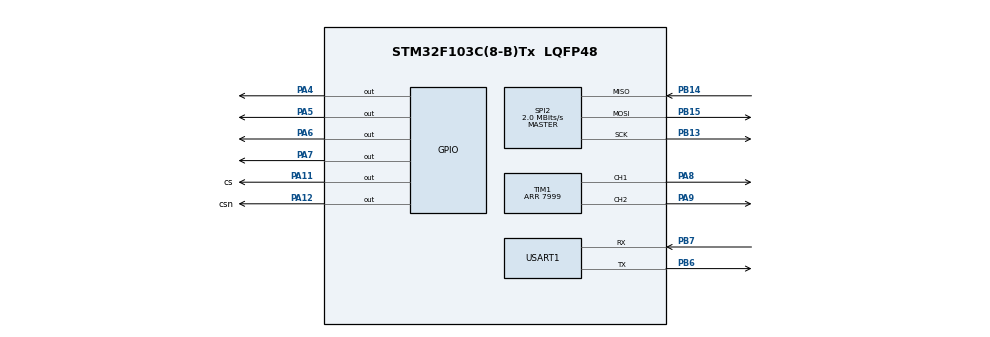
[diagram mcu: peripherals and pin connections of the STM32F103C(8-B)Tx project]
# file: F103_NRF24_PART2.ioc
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Mcu.Family=STM32F1
Mcu.Name=STM32F103C(8-B)Tx
Mcu.Package=LQFP48
NVIC.PriorityGroup=NVIC_PRIORITYGROUP_4
PA11.GPIO_Label=cs
PA11.Signal=GPIO_Output
PA12.GPIO_Label=csn
PA12.Signal=GPIO_Output
PA13.Mode=Serial_Wire
PA13.Signal=SYS_JTMS-SWDIO
PA14.Mode=Serial_Wire
PA14.Signal=SYS_JTCK-SWCLK
PA4.Signal=GPIO_Output
PA5.Signal=GPIO_Output
PA6.Signal=GPIO_Output
PA7.Signal=GPIO_Output
PA8.Signal=S_TIM1_CH1
PA9.Signal=S_TIM1_CH2
PB13.Mode=Full_Duplex_Master
PB13.Signal=SPI2_SCK
PB14.Mode=Full_Duplex_Master
PB14.Signal=SPI2_MISO
PB15.Mode=Full_Duplex_Master
PB15.Signal=SPI2_MOSI
PB6.Mode=Asynchronous
PB6.Signal=USART1_TX
PB7.Mode=Asynchronous
PB7.Signal=USART1_RX
PD0-OSC_IN.Mode=HSE-External-Oscillator
PD0-OSC_IN.Signal=RCC_OSC_IN
PD1-OSC_OUT.Mode=HSE-External-Oscillator
PD1-OSC_OUT.Signal=RCC_OSC_OUT
ProjectManager.HeapSize=0x200
ProjectManager.StackSize=0x400
ProjectManager.TargetToolchain=STM32CubeIDE
RCC.APB1Freq_Value=8000000
RCC.APB2Freq_Value=8000000
RCC.SYSCLKSource=RCC_SYSCLKSOURCE_HSE
SH.S_TIM1_CH1.0=TIM1_CH1,PWM Generation1 CH1
SH.S_TIM1_CH2.0=TIM1_CH2,PWM Generation2 CH2
SPI2.BaudRatePrescaler=SPI_BAUDRATEPRESCALER_4
SPI2.CalculateBaudRate=2.0 MBits/s
SPI2.Direction=SPI_DIRECTION_2LINES
SPI2.Mode=SPI_MODE_MASTER
SPI2.VirtualType=VM_MASTER
TIM1.AutoReloadPreload=TIM_AUTORELOAD_PRELOAD_ENABLE
TIM1.Channel-PWM\ Generation1\ CH1=TIM_CHANNEL_1
TIM1.Channel-PWM\ Generation2\ CH2=TIM_CHANNEL_2
TIM1.Period=7999
USART1.VirtualMode=VM_ASYNC
VP_TIM1_VS_ClockSourceINT.Mode=Internal
board=custom

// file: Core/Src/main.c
/* USER CODE BEGIN Header */
/**
  ******************************************************************************
  * @file           : main.c
  * @brief          : Main program body
  ******************************************************************************
  * @attention
  *
  * Copyright (c) 2022 STMicroelectronics.
  * All rights reserved.
  *
  * This software is licensed under terms that can be found in the LICENSE file
  * in the root directory of this software component.
  * If no LICENSE file comes with this software, it is provided AS-IS.
  *
  ******************************************************************************
  */
/* USER CODE END Header */
#include "main.h"

/* USER CODE BEGIN Includes */
#include "stdio.h"
#include "MY_NRF24.h"
/* USER CODE END Includes */

SPI_HandleTypeDef hspi2;

TIM_HandleTypeDef htim1;

UART_HandleTypeDef huart1;

/* USER CODE BEGIN PV */
uint64_t RxpipeAddrs = 0x11223344AA;
char myRxData[50];
uint16_t adc_value[2];
int32_t ccr_value;
/* USER CODE END PV */

void SystemClock_Config(void);
static void MX_GPIO_Init(void);
static void MX_SPI2_Init(void);
static void MX_USART1_UART_Init(void);
static void MX_TIM1_Init(void);

int main(void)
{

  /* MCU Configuration--------------------------------------------------------*/

  /* Reset of all peripherals, Initializes the Flash interface and the Systick. */
  HAL_Init();

  /* Configure the system clock */
  SystemClock_Config();

  /* Initialize all configured peripherals */
  MX_GPIO_Init();
  MX_SPI2_Init();
  MX_USART1_UART_Init();
  MX_TIM1_Init();
  /* USER CODE BEGIN 2 */
  HAL_TIM_PWM_Start(&htim1, TIM_CHANNEL_1);
  HAL_TIM_PWM_Start(&htim1, TIM_CHANNEL_2);
	NRF24_begin(GPIOA, nrf_CSN_PIN, nrf_CE_PIN, hspi2);
	nrf24_DebugUART_Init(huart1);

	printRadioSettings();

	NRF24_setAutoAck(true);
	NRF24_setChannel(52);
	NRF24_setPayloadSize(4);
	NRF24_openReadingPipe(1, RxpipeAddrs);
	//NRF24_enableDynamicPayloads();
	//NRF24_enableAckPayload();

	NRF24_startListening();
  /* USER CODE END 2 */

  /* Infinite loop */
  /* USER CODE BEGIN WHILE */
  while (1)
  {
	  if(NRF24_available())
	  {
		NRF24_read(adc_value, 4);
	  }
	  // xe dung
	  if(adc_value[0] > 490 && adc_value[0] < 510 && adc_value[1] > 488 && adc_value[1] < 506)
	  {
		  __HAL_TIM_SET_COMPARE(&htim1,TIM_CHANNEL_1, 0);
		  __HAL_TIM_SET_COMPARE(&htim1,TIM_CHANNEL_2, 0);
	  // xe chay thang
	  }else if(adc_value[0] > 510)
	  {
		  HAL_GPIO_WritePin(GPIOA, GPIO_PIN_4, 0);
		  HAL_GPIO_WritePin(GPIOA, GPIO_PIN_5, 1);
		  HAL_GPIO_WritePin(GPIOA, GPIO_PIN_6, 0);
		  HAL_GPIO_WritePin(GPIOA, GPIO_PIN_7, 1);
		  ccr_value = ((adc_value[0] - 510) * 7999) / 513;
		  __HAL_TIM_SET_COMPARE(&htim1,TIM_CHANNEL_1, ccr_value);
		  __HAL_TIM_SET_COMPARE(&htim1,TIM_CHANNEL_2, ccr_value);
	  // xe chay lui
	  }else if(adc_value[0] < 490)
	  {
		  HAL_GPIO_WritePin(GPIOA, GPIO_PIN_4, 1);
		  HAL_GPIO_WritePin(GPIOA, GPIO_PIN_5, 0);
		  HAL_GPIO_WritePin(GPIOA, GPIO_PIN_6, 1);
		  HAL_GPIO_WritePin(GPIOA, GPIO_PIN_7, 0);
		  ccr_value = ((adc_value[0] * (-1) + 502 ) * 7999) / 502;
		  __HAL_TIM_SET_COMPARE(&htim1,TIM_CHANNEL_1, ccr_value);
		  __HAL_TIM_SET_COMPARE(&htim1,TIM_CHANNEL_2, ccr_value);
	  // xe re phai
	  }else if(adc_value[1] > 506)
	  {
		  HAL_GPIO_WritePin(GPIOA, GPIO_PIN_4, 0);
		  HAL_GPIO_WritePin(GPIOA, GPIO_PIN_5, 1);
		  ccr_value = ((adc_value[1] - 506) * 7999) / 517;
		  __HAL_TIM_SET_COMPARE(&htim1,TIM_CHANNEL_1, ccr_value);
		  __HAL_TIM_SET_COMPARE(&htim1,TIM_CHANNEL_2, 0);
		  // xe re trai
	  }else if(adc_value[1] < 488)
	  {
		  HAL_GPIO_WritePin(GPIOA, GPIO_PIN_6, 0);
		  HAL_GPIO_WritePin(GPIOA, GPIO_PIN_7, 1);
		  ccr_value = ((adc_value[1] * (-1) + 495 ) * 7999) / 495;
		  __HAL_TIM_SET_COMPARE(&htim1,TIM_CHANNEL_1, 0);
		  __HAL_TIM_SET_COMPARE(&htim1,TIM_CHANNEL_2, ccr_value);
	  }
    /* USER CODE END WHILE */

  }
}

void SystemClock_Config(void)
{
  RCC_OscInitTypeDef RCC_OscInitStruct = {0};
  RCC_ClkInitTypeDef RCC_ClkInitStruct = {0};

  /** Initializes the RCC Oscillators according to the specified parameters
  * in the RCC_OscInitTypeDef structure.
  */
  RCC_OscInitStruct.OscillatorType = RCC_OSCILLATORTYPE_HSE;
  RCC_OscInitStruct.HSEState = RCC_HSE_ON;
  RCC_OscInitStruct.PLL.PLLState = RCC_PLL_NONE;
  if (HAL_RCC_OscConfig(&RCC_OscInitStruct) != HAL_OK)
  {
    Error_Handler();
  }
  /** Initializes the CPU, AHB and APB buses clocks
  */
  RCC_ClkInitStruct.ClockType = RCC_CLOCKTYPE_HCLK|RCC_CLOCKTYPE_SYSCLK
                              |RCC_CLOCKTYPE_PCLK1|RCC_CLOCKTYPE_PCLK2;
  RCC_ClkInitStruct.SYSCLKSource = RCC_SYSCLKSOURCE_HSE;
  RCC_ClkInitStruct.AHBCLKDivider = RCC_SYSCLK_DIV1;
  RCC_ClkInitStruct.APB1CLKDivider = RCC_HCLK_DIV1;
  RCC_ClkInitStruct.APB2CLKDivider = RCC_HCLK_DIV1;

  if (HAL_RCC_ClockConfig(&RCC_ClkInitStruct, FLASH_LATENCY_0) != HAL_OK)
  {
    Error_Handler();
  }
}

static void MX_SPI2_Init(void)
{

  /* SPI2 parameter configuration*/
  hspi2.Instance = SPI2;
  hspi2.Init.Mode = SPI_MODE_MASTER;
  hspi2.Init.Direction = SPI_DIRECTION_2LINES;
  hspi2.Init.DataSize = SPI_DATASIZE_8BIT;
  hspi2.Init.CLKPolarity = SPI_POLARITY_LOW;
  hspi2.Init.CLKPhase = SPI_PHASE_1EDGE;
  hspi2.Init.NSS = SPI_NSS_SOFT;
  hspi2.Init.BaudRatePrescaler = SPI_BAUDRATEPRESCALER_4;
  hspi2.Init.FirstBit = SPI_FIRSTBIT_MSB;
  hspi2.Init.TIMode = SPI_TIMODE_DISABLE;
  hspi2.Init.CRCCalculation = SPI_CRCCALCULATION_DISABLE;
  hspi2.Init.CRCPolynomial = 10;
  if (HAL_SPI_Init(&hspi2) != HAL_OK)
  {
    Error_Handler();
  }

}

static void MX_TIM1_Init(void)
{

  TIM_ClockConfigTypeDef sClockSourceConfig = {0};
  TIM_MasterConfigTypeDef sMasterConfig = {0};
  TIM_OC_InitTypeDef sConfigOC = {0};
  TIM_BreakDeadTimeConfigTypeDef sBreakDeadTimeConfig = {0};

  htim1.Instance = TIM1;
  htim1.Init.Prescaler = 0;
  htim1.Init.CounterMode = TIM_COUNTERMODE_UP;
  htim1.Init.Period = 7999;
  htim1.Init.ClockDivision = TIM_CLOCKDIVISION_DIV1;
  htim1.Init.RepetitionCounter = 0;
  htim1.Init.AutoReloadPreload = TIM_AUTORELOAD_PRELOAD_ENABLE;
  if (HAL_TIM_Base_Init(&htim1) != HAL_OK)
  {
    Error_Handler();
  }
  sClockSourceConfig.ClockSource = TIM_CLOCKSOURCE_INTERNAL;
  if (HAL_TIM_ConfigClockSource(&htim1, &sClockSourceConfig) != HAL_OK)
  {
    Error_Handler();
  }
  if (HAL_TIM_PWM_Init(&htim1) != HAL_OK)
  {
    Error_Handler();
  }
  sMasterConfig.MasterOutputTrigger = TIM_TRGO_RESET;
  sMasterConfig.MasterSlaveMode = TIM_MASTERSLAVEMODE_DISABLE;
  if (HAL_TIMEx_MasterConfigSynchronization(&htim1, &sMasterConfig) != HAL_OK)
  {
    Error_Handler();
  }
  sConfigOC.OCMode = TIM_OCMODE_PWM1;
  sConfigOC.Pulse = 0;
  sConfigOC.OCPolarity = TIM_OCPOLARITY_HIGH;
  sConfigOC.OCNPolarity = TIM_OCNPOLARITY_HIGH;
  sConfigOC.OCFastMode = TIM_OCFAST_DISABLE;
  sConfigOC.OCIdleState = TIM_OCIDLESTATE_RESET;
  sConfigOC.OCNIdleState = TIM_OCNIDLESTATE_RESET;
  if (HAL_TIM_PWM_ConfigChannel(&htim1, &sConfigOC, TIM_CHANNEL_1) != HAL_OK)
  {
    Error_Handler();
  }
  if (HAL_TIM_PWM_ConfigChannel(&htim1, &sConfigOC, TIM_CHANNEL_2) != HAL_OK)
  {
    Error_Handler();
  }
  sBreakDeadTimeConfig.OffStateRunMode = TIM_OSSR_DISABLE;
  sBreakDeadTimeConfig.OffStateIDLEMode = TIM_OSSI_DISABLE;
  sBreakDeadTimeConfig.LockLevel = TIM_LOCKLEVEL_OFF;
  sBreakDeadTimeConfig.DeadTime = 0;
  sBreakDeadTimeConfig.BreakState = TIM_BREAK_DISABLE;
  sBreakDeadTimeConfig.BreakPolarity = TIM_BREAKPOLARITY_HIGH;
  sBreakDeadTimeConfig.AutomaticOutput = TIM_AUTOMATICOUTPUT_DISABLE;
  if (HAL_TIMEx_ConfigBreakDeadTime(&htim1, &sBreakDeadTimeConfig) != HAL_OK)
  {
    Error_Handler();
  }
  HAL_TIM_MspPostInit(&htim1);

}

static void MX_USART1_UART_Init(void)
{

  huart1.Instance = USART1;
  huart1.Init.BaudRate = 115200;
  huart1.Init.WordLength = UART_WORDLENGTH_8B;
  huart1.Init.StopBits = UART_STOPBITS_1;
  huart1.Init.Parity = UART_PARITY_NONE;
  huart1.Init.Mode = UART_MODE_TX_RX;
  huart1.Init.HwFlowCtl = UART_HWCONTROL_NONE;
  huart1.Init.OverSampling = UART_OVERSAMPLING_16;
  if (HAL_UART_Init(&huart1) != HAL_OK)
  {
    Error_Handler();
  }

}

static void MX_GPIO_Init(void)
{
  GPIO_InitTypeDef GPIO_InitStruct = {0};

  /* GPIO Ports Clock Enable */
  __HAL_RCC_GPIOD_CLK_ENABLE();
  __HAL_RCC_GPIOA_CLK_ENABLE();
  __HAL_RCC_GPIOB_CLK_ENABLE();

  /*Configure GPIO pin Output Level */
  HAL_GPIO_WritePin(GPIOA, GPIO_PIN_4|GPIO_PIN_5|GPIO_PIN_6|GPIO_PIN_7
                          |cs_Pin|csn_Pin, GPIO_PIN_RESET);

  /*Configure GPIO pins : PA4 PA5 PA6 PA7
                           cs_Pin csn_Pin */
  GPIO_InitStruct.Pin = GPIO_PIN_4|GPIO_PIN_5|GPIO_PIN_6|GPIO_PIN_7
                          |cs_Pin|csn_Pin;
  GPIO_InitStruct.Mode = GPIO_MODE_OUTPUT_PP;
  GPIO_InitStruct.Pull = GPIO_NOPULL;
  GPIO_InitStruct.Speed = GPIO_SPEED_FREQ_LOW;
  HAL_GPIO_Init(GPIOA, &GPIO_InitStruct);

}

void Error_Handler(void)
{
  __disable_irq();
  while (1)
  {
  }
}
